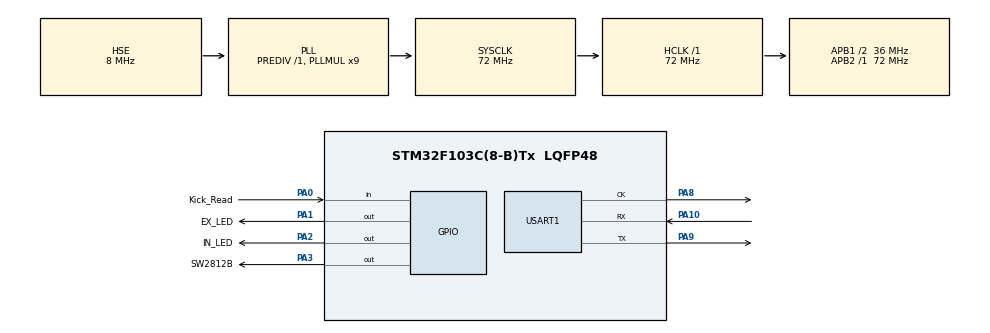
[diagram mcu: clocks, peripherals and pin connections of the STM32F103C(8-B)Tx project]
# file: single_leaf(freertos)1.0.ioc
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FREERTOS.Tasks01=Kick_Mode,1,128,Kick_Mode_Start,As weak,NULL,Dynamic,NULL,NULL
FREERTOS.configTOTAL_HEAP_SIZE=10000
Mcu.Family=STM32F1
Mcu.Name=STM32F103C(8-B)Tx
Mcu.Package=LQFP48
NVIC.PriorityGroup=NVIC_PRIORITYGROUP_4
NVIC.TIM1_UP_IRQn=true\:0\:0\:false\:false\:true\:false\:false\:true
NVIC.TimeBase=TIM1_UP_IRQn
NVIC.TimeBaseIP=TIM1
PA0-WKUP.GPIO_Label=Kick_Read
PA0-WKUP.Signal=GPIO_Input
PA1.GPIO_Label=EX_LED
PA1.Signal=GPIO_Output
PA10.Mode=Synchronous
PA10.Signal=USART1_RX
PA13.Mode=Serial_Wire
PA13.Signal=SYS_JTMS-SWDIO
PA14.Mode=Serial_Wire
PA14.Signal=SYS_JTCK-SWCLK
PA2.GPIO_Label=IN_LED
PA2.Signal=GPIO_Output
PA3.GPIO_Label=SW2812B
PA3.Signal=GPIO_Output
PA8.Mode=Synchronous
PA8.Signal=USART1_CK
PA9.Mode=Synchronous
PA9.Signal=USART1_TX
PD0-OSC_IN.Mode=HSE-External-Oscillator
PD0-OSC_IN.Signal=RCC_OSC_IN
PD1-OSC_OUT.Mode=HSE-External-Oscillator
PD1-OSC_OUT.Signal=RCC_OSC_OUT
ProjectManager.HeapSize=0x200
ProjectManager.StackSize=0x400
ProjectManager.TargetToolchain=MDK-ARM V5.27
RCC.AHBFreq_Value=72000000
RCC.APB1CLKDivider=RCC_HCLK_DIV2
RCC.APB1Freq_Value=36000000
RCC.APB1TimFreq_Value=72000000
RCC.APB2Freq_Value=72000000
RCC.APB2TimFreq_Value=72000000
RCC.HCLKFreq_Value=72000000
RCC.PLLMUL=RCC_PLL_MUL9
RCC.PLLSourceVirtual=RCC_PLLSOURCE_HSE
RCC.SYSCLKFreq_VALUE=72000000
RCC.SYSCLKSource=RCC_SYSCLKSOURCE_PLLCLK
RCC.USBFreq_Value=72000000
USART1.VirtualMode=VM_SYNC
VP_FREERTOS_VS_CMSIS_V1.Mode=CMSIS_V1
VP_SYS_VS_tim1.Mode=TIM1
board=custom

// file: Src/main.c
/* USER CODE BEGIN Header */
/**
  ******************************************************************************
  * @file           : main.c
  * @brief          : Main program body
  ******************************************************************************
  * @attention
  *
  * <h2><center>&copy; Copyright (c) 2020 STMicroelectronics.
  * All rights reserved.</center></h2>
  *
  * This software component is licensed by ST under Ultimate Liberty license
  * SLA0044, the "License"; You may not use this file except in compliance with
  * the License. You may obtain a copy of the License at:
  *                             www.st.com/SLA0044
  *
  ******************************************************************************
  */
/* USER CODE END Header */

#include "main.h"
#include "cmsis_os.h"

/* USER CODE BEGIN Includes */
#include "SW2812B_control.c"
/* USER CODE END Includes */

/* USER CODE BEGIN PD */
#define COLOR RED
/*
RGB RED    = {255,  0,  0};
RGB BLUE_D = {  0,  0,255};
RGB ORANGE = {250,128, 10};
RGB BLUE_C = {130,206,255};
*/
/* USER CODE END PD */

USART_HandleTypeDef husart1;

osThreadId Kick_ModeHandle;

void SystemClock_Config(void);
static void MX_GPIO_Init(void);
static void MX_USART1_Init(void);
void Kick_Mode_Start(void const * argument);

/* USER CODE BEGIN 0 */
#ifdef _GNUC_
#define PUTCHAR_PROTOTYPE int __io_putchar(int ch)
#else
#define PUTCHAR_PROTOTYPE int fputc (int ch,FILE*f)
#endif
/* USER CODE END 0 */

int main(void)
{

  /* MCU Configuration--------------------------------------------------------*/

  /* Reset of all peripherals, Initializes the Flash interface and the Systick. */
  HAL_Init();

  /* Configure the system clock */
  SystemClock_Config();

  /* Initialize all configured peripherals */
  MX_GPIO_Init();
  MX_USART1_Init();

  /* Create the thread(s) */
  /* definition and creation of Kick_Mode */
  osThreadDef(Kick_Mode, Kick_Mode_Start, osPriorityAboveNormal, 0, 128);
  Kick_ModeHandle = osThreadCreate(osThread(Kick_Mode), NULL);

  /* Start scheduler */
  osKernelStart();

  /* We should never get here as control is now taken by the scheduler */

  /* Infinite loop */
  while (1)
  {

  }
}

void SystemClock_Config(void)
{
  RCC_OscInitTypeDef RCC_OscInitStruct = {0};
  RCC_ClkInitTypeDef RCC_ClkInitStruct = {0};

  /** Initializes the CPU, AHB and APB busses clocks
  */
  RCC_OscInitStruct.OscillatorType = RCC_OSCILLATORTYPE_HSE;
  RCC_OscInitStruct.HSEState = RCC_HSE_ON;
  RCC_OscInitStruct.HSEPredivValue = RCC_HSE_PREDIV_DIV1;
  RCC_OscInitStruct.HSIState = RCC_HSI_ON;
  RCC_OscInitStruct.PLL.PLLState = RCC_PLL_ON;
  RCC_OscInitStruct.PLL.PLLSource = RCC_PLLSOURCE_HSE;
  RCC_OscInitStruct.PLL.PLLMUL = RCC_PLL_MUL9;
  if (HAL_RCC_OscConfig(&RCC_OscInitStruct) != HAL_OK)
  {
    Error_Handler();
  }
  /** Initializes the CPU, AHB and APB busses clocks
  */
  RCC_ClkInitStruct.ClockType = RCC_CLOCKTYPE_HCLK|RCC_CLOCKTYPE_SYSCLK
                              |RCC_CLOCKTYPE_PCLK1|RCC_CLOCKTYPE_PCLK2;
  RCC_ClkInitStruct.SYSCLKSource = RCC_SYSCLKSOURCE_PLLCLK;
  RCC_ClkInitStruct.AHBCLKDivider = RCC_SYSCLK_DIV1;
  RCC_ClkInitStruct.APB1CLKDivider = RCC_HCLK_DIV2;
  RCC_ClkInitStruct.APB2CLKDivider = RCC_HCLK_DIV1;

  if (HAL_RCC_ClockConfig(&RCC_ClkInitStruct, FLASH_LATENCY_2) != HAL_OK)
  {
    Error_Handler();
  }
}

static void MX_USART1_Init(void)
{

  husart1.Instance = USART1;
  husart1.Init.BaudRate = 115200;
  husart1.Init.WordLength = USART_WORDLENGTH_8B;
  husart1.Init.StopBits = USART_STOPBITS_1;
  husart1.Init.Parity = USART_PARITY_NONE;
  husart1.Init.Mode = USART_MODE_TX_RX;
  husart1.Init.CLKPolarity = USART_POLARITY_LOW;
  husart1.Init.CLKPhase = USART_PHASE_1EDGE;
  husart1.Init.CLKLastBit = USART_LASTBIT_DISABLE;
  if (HAL_USART_Init(&husart1) != HAL_OK)
  {
    Error_Handler();
  }

}

static void MX_GPIO_Init(void)
{
  GPIO_InitTypeDef GPIO_InitStruct = {0};

  /* GPIO Ports Clock Enable */
  __HAL_RCC_GPIOD_CLK_ENABLE();
  __HAL_RCC_GPIOA_CLK_ENABLE();

  /*Configure GPIO pin Output Level */
  HAL_GPIO_WritePin(GPIOA, EX_LED_Pin|IN_LED_Pin|SW2812B_Pin, GPIO_PIN_RESET);

  /*Configure GPIO pin : Kick_Read_Pin */
  GPIO_InitStruct.Pin = Kick_Read_Pin;
  GPIO_InitStruct.Mode = GPIO_MODE_INPUT;
  GPIO_InitStruct.Pull = GPIO_NOPULL;
  HAL_GPIO_Init(Kick_Read_GPIO_Port, &GPIO_InitStruct);

  /*Configure GPIO pins : EX_LED_Pin IN_LED_Pin SW2812B_Pin */
  GPIO_InitStruct.Pin = EX_LED_Pin|IN_LED_Pin|SW2812B_Pin;
  GPIO_InitStruct.Mode = GPIO_MODE_OUTPUT_PP;
  GPIO_InitStruct.Pull = GPIO_NOPULL;
  GPIO_InitStruct.Speed = GPIO_SPEED_FREQ_LOW;
  HAL_GPIO_Init(GPIOA, &GPIO_InitStruct);

}

/* USER CODE BEGIN 4 */
void State_On ()
{
	HAL_GPIO_WritePin(GPIOA,GPIO_PIN_1,(GPIO_PinState)1);
	HAL_GPIO_WritePin(GPIOA,GPIO_PIN_2,(GPIO_PinState)1);
	HAL_GPIO_WritePin(GPIOA,GPIO_PIN_3,(GPIO_PinState)1);
}

void State_Off ()
{
	HAL_GPIO_WritePin(GPIOA,GPIO_PIN_1,(GPIO_PinState)0);
	HAL_GPIO_WritePin(GPIOA,GPIO_PIN_2,(GPIO_PinState)0);
	Display_Full(GPIOA,GPIO_PIN_3, COLOR);
}

void State_Excited ()
{
	HAL_GPIO_WritePin(GPIOA,GPIO_PIN_1,(GPIO_PinState)1);
	HAL_GPIO_WritePin(GPIOA,GPIO_PIN_2,(GPIO_PinState)0);
	Display_Flow(GPIOA,GPIO_PIN_3, COLOR);
}
/* USER CODE END 4 */

__weak void Kick_Mode_Start(void const * argument)
{
  for(;;)
  {
    osDelay(1);
  }
}

void HAL_TIM_PeriodElapsedCallback(TIM_HandleTypeDef *htim)
{
  if (htim->Instance == TIM1) {
    HAL_IncTick();
  }
}

void Error_Handler(void)
{
}

/************************ (C) COPYRIGHT STMicroelectronics *****END OF FILE****/
